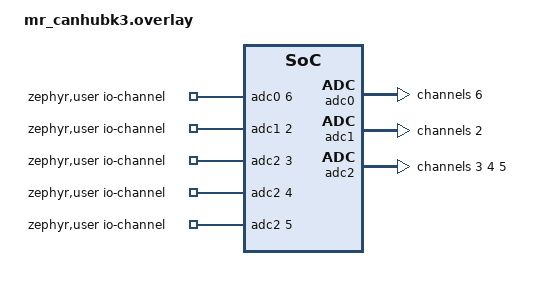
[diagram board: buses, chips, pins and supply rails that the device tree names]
/*
 * Copyright 2023 NXP
 *
 * SPDX-License-Identifier: Apache-2.0
 */

#include <zephyr/dt-bindings/adc/adc.h>

/ {
	zephyr,user {
		io-channels = <&adc0 6>, <&adc1 2>, <&adc2 3>, <&adc2 4>, <&adc2 5>;
	};
};

&adc0 {
	group-channel = "precision";
	callback-select = "normal-end-chain";
	#address-cells = <1>;
	#size-cells = <0>;
	status = "okay";

	channel@6 {
		reg = <6>;
		zephyr,gain = "ADC_GAIN_1";
		zephyr,reference = "ADC_REF_INTERNAL";
		zephyr,acquisition-time = <ADC_ACQ_TIME_DEFAULT>;
		zephyr,resolution = <14>;
	};
};

&adc1 {
	group-channel = "precision";
	#address-cells = <1>;
	#size-cells = <0>;
	status = "okay";

	channel@2 {
		reg = <2>;
		zephyr,gain = "ADC_GAIN_1";
		zephyr,reference = "ADC_REF_INTERNAL";
		zephyr,acquisition-time = <ADC_ACQ_TIME_DEFAULT>;
		zephyr,resolution = <14>;
	};
};

&adc2 {
	group-channel = "precision";
	#address-cells = <1>;
	#size-cells = <0>;
	status = "okay";

	channel@3 {
		reg = <3>;
		zephyr,gain = "ADC_GAIN_1";
		zephyr,reference = "ADC_REF_INTERNAL";
		zephyr,acquisition-time = <ADC_ACQ_TIME_DEFAULT>;
		zephyr,resolution = <14>;
	};

	channel@4 {
		reg = <4>;
		zephyr,gain = "ADC_GAIN_1";
		zephyr,reference = "ADC_REF_INTERNAL";
		zephyr,acquisition-time = <ADC_ACQ_TIME_DEFAULT>;
		zephyr,resolution = <14>;
	};

	channel@5 {
		reg = <5>;
		zephyr,gain = "ADC_GAIN_1";
		zephyr,reference = "ADC_REF_INTERNAL";
		zephyr,acquisition-time = <ADC_ACQ_TIME_DEFAULT>;
		zephyr,resolution = <14>;
	};
};
